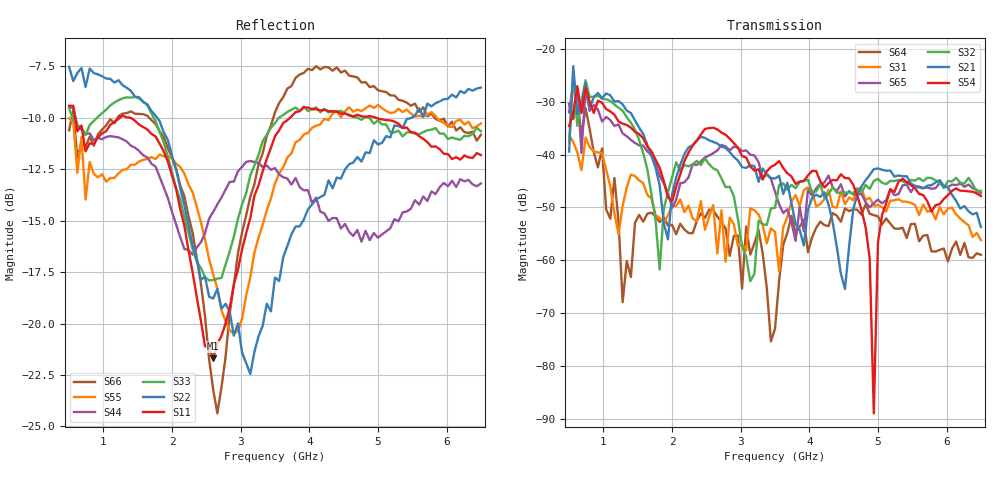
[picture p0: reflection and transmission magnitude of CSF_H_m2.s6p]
!Keysight Technologies,M9804A,MY58100912,A.14.10.03
!Date: Thursday, April 27, 2023 10:28:33
!Correction: S11(C  6-Port  )
!S12(C  6-Port  )
!S13(C  6-Port  )
!S14(C  6-Port  )
!S15(C  6-Port  )
!S16(C  6-Port  )
!S21(C  6-Port  )
!S22(C  6-Port  )
!S23(C  6-Port  )
!S24(C  6-Port  )
!S25(C  6-Port  )
!S26(C  6-Port  )
!S31(C  6-Port  )
!S32(C  6-Port  )
!S33(C  6-Port  )
!S34(C  6-Port  )
!S35(C  6-Port  )
!S36(C  6-Port  )
!S41(C  6-Port  )
!S42(C  6-Port  )
!S43(C  6-Port  )
!S44(C  6-Port  )
!S45(C  6-Port  )
!S46(C  6-Port  )
!S51(C  6-Port  )
!S52(C  6-Port  )
!S53(C  6-Port  )
!S54(C  6-Port  )
!S55(C  6-Port  )
!S56(C  6-Port  )
!S61(C  6-Port  )
!S62(C  6-Port  )
!S63(C  6-Port  )
!S64(C  6-Port  )
!S65(C  6-Port  )
!S66(C  6-Port  )
!S6P File: Measurement: :
# Hz S  RI  R 50
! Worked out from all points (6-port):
!   101 points, 500 MHz to 6.5 GHz, reference 50 ohm
!   strongest paths, dB at 500 MHz, 2 GHz, 3.5 GHz, 5 GHz, 6.5 GHz:
!     S54: -34.6, -48.8, -41.9, -56.6, -47.8
!     S21: -39.4, -47.5, -44.5, -42.6, -53.7
!     S32: -37.6, -44.3, -50.0, -44.6, -46.8
!     S65: -32.0, -50.1, -47.0, -48.5, -47.3
!     S31: -36.3, -49.6, -54.6, -49.5, -56.2
!     S64: -30.4, -53.3, -73.0, -51.7, -59.0
!   lowest |S11| = -21.7 dB at 2.6 GHz (marker M1), VSWR 1.18, Z = 42.6 + j2.02 ohm
!   |S11| at or under -10 dB: 588.4 MHz to 1.238 GHz (649.6 MHz wide, 71.1 % of centre); 1.395 GHz to 3.718 GHz (2.323 GHz wide, 90.9 % of centre); 4.972 GHz to end of sweep
